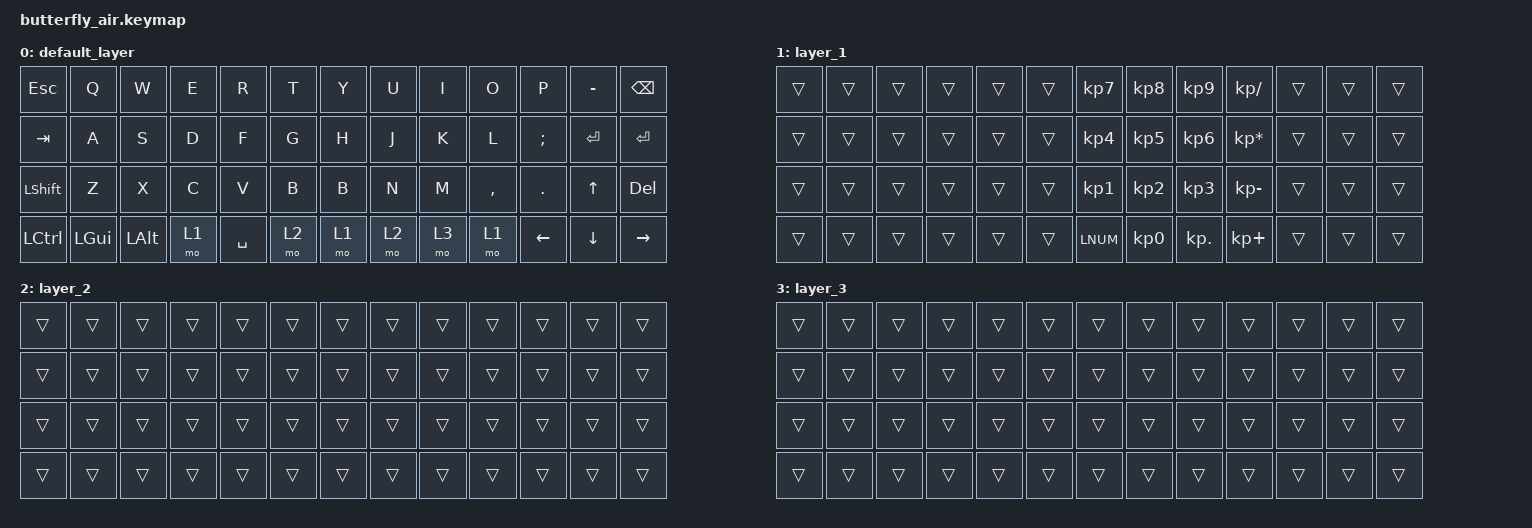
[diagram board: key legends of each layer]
/*
 * Copyright (c) 2023 The ZMK Contributors
 * SPDX-License-Identifier: MIT
 */

#include <behaviors.dtsi>
#include <dt-bindings/zmk/keys.h>

/ {
    keymap {
        compatible = "zmk,keymap";

        /* Layer 0: デフォルトレイヤー */
        default_layer {
            bindings = <
&kp ESC   &kp Q    &kp W    &kp E   &kp R     &kp T   &kp Y   &kp U   &kp I     &kp O     &kp P     &kp MINUS &kp BSPC
&kp TAB   &kp A    &kp S    &kp D   &kp F     &kp G   &kp H   &kp J   &kp K     &kp L     &kp SEMI  &kp RET   &kp RET
&kp LSHFT &kp Z    &kp X    &kp C   &kp V     &kp B   &kp B   &kp N   &kp M     &kp COMMA &kp DOT   &kp UP    &kp DEL
&kp LCTRL &kp LGUI &kp LALT &mo 1   &kp SPACE &mo 2   &mo 1   &mo 2   &mo 3     &mo 1     &kp LEFT  &kp DOWN  &kp RIGHT
            >;
        };

        /* Layer 1: テンキー・記号 */
        layer_1 {
            bindings = <
&trans &trans &trans &trans &trans &trans &kp KP_N7 &kp KP_N8 &kp KP_N9 &kp KP_SLASH    &trans &trans &trans
&trans &trans &trans &trans &trans &trans &kp KP_N4 &kp KP_N5 &kp KP_N6 &kp KP_ASTERISK &trans &trans &trans
&trans &trans &trans &trans &trans &trans &kp KP_N1 &kp KP_N2 &kp KP_N3 &kp KP_MINUS    &trans &trans &trans
&trans &trans &trans &trans &trans &trans &kp LNUM  &kp KP_N0 &kp KP_DOT &kp KP_PLUS    &trans &trans &trans
            >;
        };

        /* Layer 2 */
        layer_2 {
            bindings = <
&trans &trans &trans &trans &trans &trans &trans &trans &trans &trans &trans &trans &trans
&trans &trans &trans &trans &trans &trans &trans &trans &trans &trans &trans &trans &trans
&trans &trans &trans &trans &trans &trans &trans &trans &trans &trans &trans &trans &trans
&trans &trans &trans &trans &trans &trans &trans &trans &trans &trans &trans &trans &trans
            >;
        };

        /* Layer 3 */
        layer_3 {
            bindings = <
&trans &trans &trans &trans &trans &trans &trans &trans &trans &trans &trans &trans &trans
&trans &trans &trans &trans &trans &trans &trans &trans &trans &trans &trans &trans &trans
&trans &trans &trans &trans &trans &trans &trans &trans &trans &trans &trans &trans &trans
&trans &trans &trans &trans &trans &trans &trans &trans &trans &trans &trans &trans &trans
            >;
        };
    };
};
